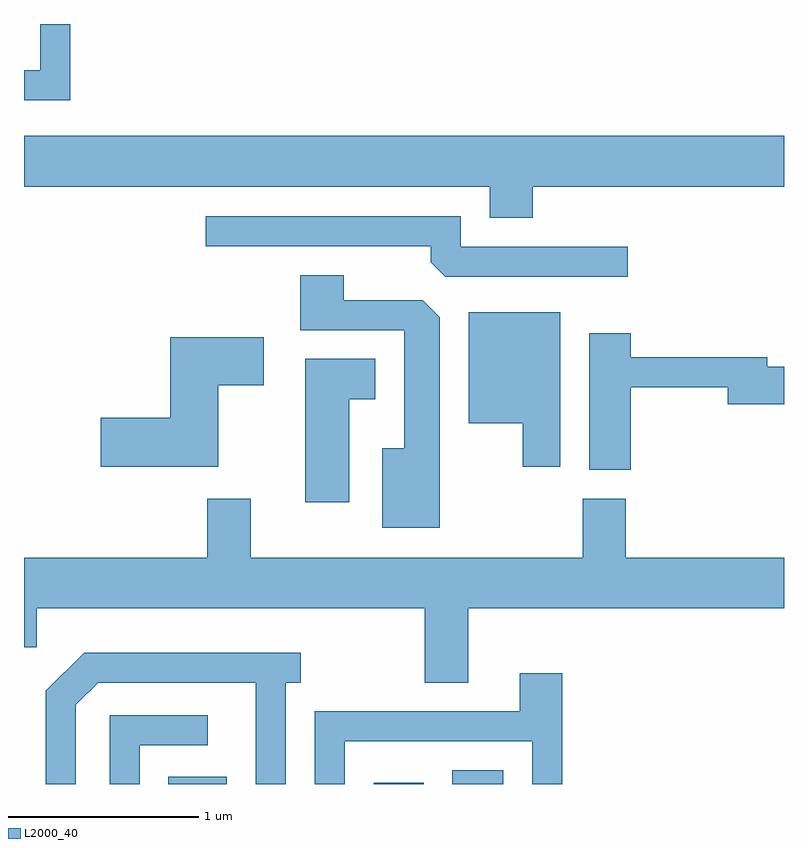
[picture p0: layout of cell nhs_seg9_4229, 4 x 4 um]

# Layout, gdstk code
import gdstk
lib = gdstk.Library(unit=1e-6, precision=1e-09)
def R(c, l, rs):  # rectangles x0, y0, x1, y1
    for r in rs: c.add(gdstk.rectangle(r[:2], r[2:], *l))
def P(c, l, *ps):  # polygons
    for p in ps: c.add(gdstk.Polygon(p, *l))
L2000_40 = (2000, 40)

nhs_seg9_4229 = lib.new_cell('nhs_seg9_4229')
R(nhs_seg9_4229, L2000_40, [(310.371,2006.432,310.679,2006.469), (311.451,2006.432,311.714,2006.439), (311.866,2006.432,312.134,2006.504)])
P(nhs_seg9_4229, L2000_40, [(309.854,2010.432),(309.696,2010.432),(309.696,2010.189),(309.611,2010.189),(309.611,2010.031),(309.854,2010.031)],
  [(312.289,2009.576),(313.611,2009.576),(313.611,2009.844),(309.611,2009.844),(309.611,2009.576),(312.061,2009.576),(312.061,2009.411),(312.289,2009.411)],
  [(312.788,2009.259),(311.909,2009.259),(311.909,2009.419),(310.568,2009.419),(310.568,2009.261),(311.751,2009.261),(311.751,2009.177),(311.827,2009.101),(312.788,2009.101)],
  [(311.799,2008.889),(311.709,2008.979),(311.294,2008.979),(311.294,2009.109),(311.066,2009.109),(311.066,2008.821),(311.611,2008.821),(311.611,2008.199),(311.496,2008.199),(311.496,2007.781),(311.799,2007.781)],
  [(312.434,2008.914),(311.951,2008.914),(311.951,2008.331),(312.236,2008.331),(312.236,2008.101),(312.434,2008.101)],
  [(312.804,2008.521),(313.316,2008.521),(313.316,2008.431),(313.611,2008.431),(313.611,2008.629),(313.524,2008.629),(313.524,2008.679),(312.804,2008.679),(312.804,2008.804),(312.586,2008.804),(312.586,2008.086),(312.804,2008.086)],
  [(310.634,2008.531),(310.874,2008.531),(310.874,2008.784),(310.381,2008.784),(310.381,2008.359),(310.016,2008.359),(310.016,2008.101),(310.634,2008.101)],
  [(311.324,2008.456),(311.459,2008.456),(311.459,2008.669),(311.091,2008.669),(311.091,2007.916),(311.324,2007.916)],
  [(311.949,2007.356),(313.611,2007.356),(313.611,2007.624),(312.779,2007.624),(312.779,2007.934),(312.551,2007.934),(312.551,2007.624),(310.804,2007.624),(310.804,2007.934),(310.576,2007.934),(310.576,2007.624),(309.611,2007.624),(309.611,2007.151),(309.679,2007.151),(309.679,2007.356),(311.721,2007.356),(311.721,2006.966),(311.949,2006.966)],
  [(309.884,2006.849),(310.002,2006.966),(310.831,2006.966),(310.831,2006.432),(310.989,2006.432),(310.989,2006.966),(311.068,2006.966),(311.068,2007.124),(309.929,2007.124),(309.726,2006.922),(309.726,2006.432),(309.884,2006.432)],
  [(311.299,2006.656),(312.286,2006.656),(312.286,2006.432),(312.444,2006.432),(312.444,2007.014),(312.221,2007.014),(312.221,2006.814),(311.141,2006.814),(311.141,2006.432),(311.299,2006.432)],
  [(310.219,2006.636),(310.578,2006.636),(310.578,2006.794),(310.061,2006.794),(310.061,2006.432),(310.219,2006.432)])

lib.write_gds('nhs_seg9_4229.gds')
